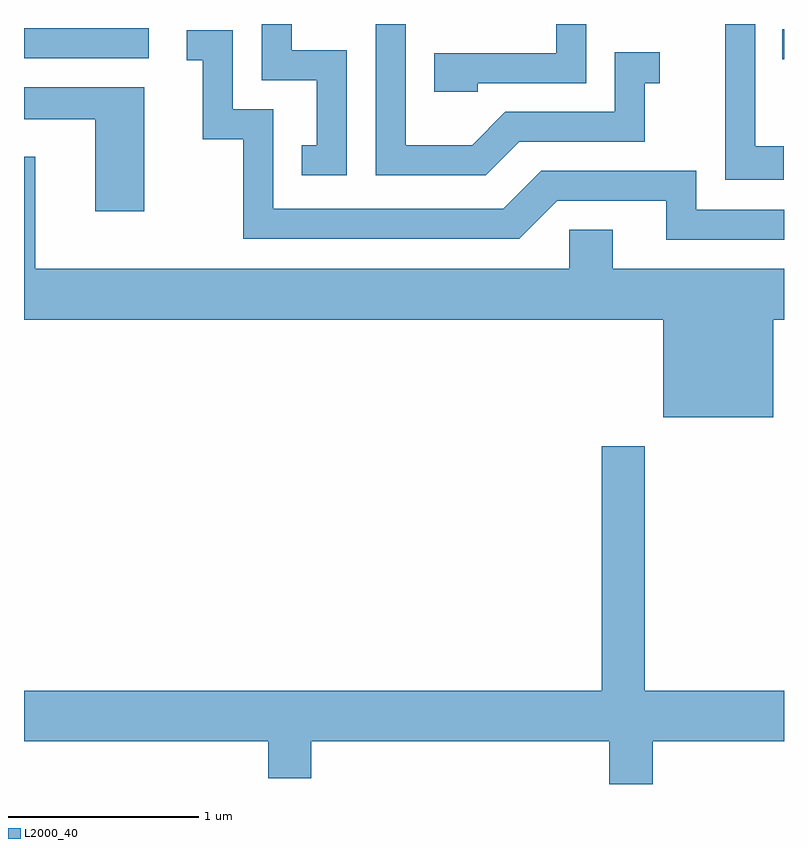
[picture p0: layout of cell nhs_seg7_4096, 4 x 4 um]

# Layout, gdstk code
import gdstk
lib = gdstk.Library(unit=1e-6, precision=1e-09)
def R(c, l, rs):  # rectangles x0, y0, x1, y1
    for r in rs: c.add(gdstk.rectangle(r[:2], r[2:], *l))
def P(c, l, *ps):  # polygons
    for p in ps: c.add(gdstk.Polygon(p, *l))
L2000_40 = (2000, 40)

nhs_seg7_4096 = lib.new_cell('nhs_seg7_4096')
R(nhs_seg7_4096, L2000_40, [(313.603,1780.066,313.611,1780.224), (309.611,1780.071,310.268,1780.229)])
P(nhs_seg7_4096, L2000_40, [(311.309,1780.114),(311.019,1780.114),(311.019,1780.252),(310.861,1780.252),(310.861,1779.956),(311.151,1779.956),(311.151,1779.614),(311.073,1779.614),(311.073,1779.456),(311.309,1779.456)],
  [(311.999,1779.941),(312.569,1779.941),(312.569,1780.252),(312.411,1780.252),(312.411,1780.099),(311.771,1780.099),(311.771,1779.896),(311.999,1779.896)],
  [(313.609,1779.609),(313.459,1779.609),(313.459,1780.252),(313.301,1780.252),(313.301,1779.431),(313.609,1779.431)],
  [(312.217,1779.631),(312.879,1779.631),(312.879,1779.941),(312.958,1779.941),(312.958,1780.104),(312.721,1780.104),(312.721,1779.789),(312.144,1779.789),(311.969,1779.614),(311.619,1779.614),(311.619,1780.252),(311.461,1780.252),(311.461,1779.456),(312.042,1779.456)],
  [(313.611,1779.274),(313.149,1779.274),(313.149,1779.479),(312.334,1779.479),(312.134,1779.279),(310.924,1779.279),(310.924,1779.804),(310.709,1779.804),(310.709,1780.219),(310.468,1780.219),(310.468,1780.061),(310.551,1780.061),(310.551,1779.646),(310.766,1779.646),(310.766,1779.121),(312.217,1779.121),(312.417,1779.321),(312.991,1779.321),(312.991,1779.116),(313.611,1779.116)],
  [(310.244,1779.919),(309.611,1779.919),(309.611,1779.751),(309.986,1779.751),(309.986,1779.266),(310.244,1779.266)],
  [(313.554,1778.696),(313.611,1778.696),(313.611,1778.964),(312.709,1778.964),(312.709,1779.169),(312.481,1779.169),(312.481,1778.964),(309.669,1778.964),(309.669,1779.554),(309.611,1779.554),(309.611,1778.696),(312.976,1778.696),(312.976,1778.181),(313.554,1778.181)],
  [(312.919,1776.476),(313.611,1776.476),(313.611,1776.744),(312.879,1776.744),(312.879,1778.029),(312.651,1778.029),(312.651,1776.744),(309.611,1776.744),(309.611,1776.476),(310.896,1776.476),(310.896,1776.281),(311.124,1776.281),(311.124,1776.476),(312.691,1776.476),(312.691,1776.252),(312.919,1776.252)])

lib.write_gds('nhs_seg7_4096.gds')
